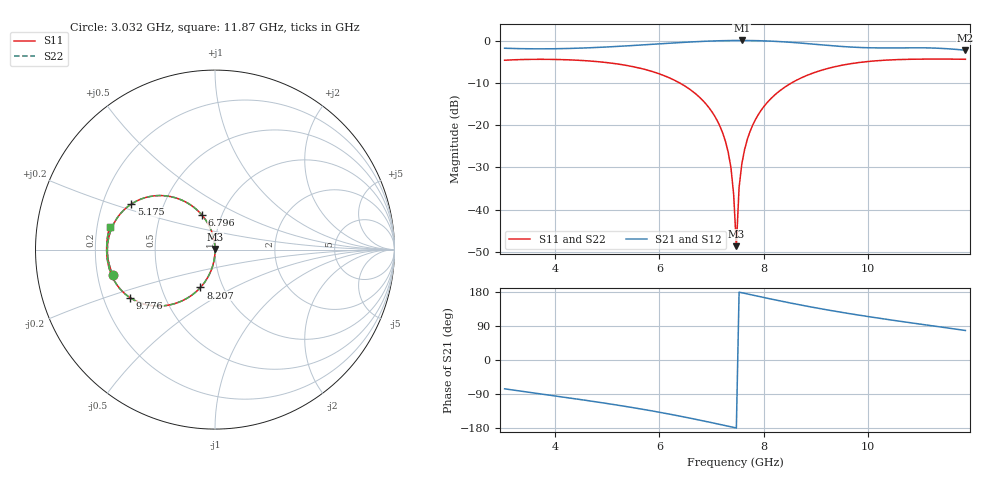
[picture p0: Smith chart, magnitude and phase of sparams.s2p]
! rfx Touchstone export
! 2-port, 170 frequencies
! rfx gallery case multilayer_fresnel
! tier E5; quick_smoke=False
# GHz S RI R 50
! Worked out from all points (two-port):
!   170 points, 3.032 GHz to 11.87 GHz, reference 50 ohm
!   highest |S21| = 0.02 dB at 7.58 GHz (marker M1); lowest = -2.3 dB at 11.87 GHz (marker M2)
!   |S21| within 3 dB of the highest: start of sweep to end of sweep
!   lowest |S11| = -48.7 dB at 7.476 GHz (marker M3), VSWR 1.01, Z = 50 + j0.369 ohm
!   |S11| at or under -10 dB: 6.383 GHz to 8.538 GHz (2.154 GHz wide, 28.9 % of centre)
!   |S22| runs from -48.7 to -4.4 dB; largest |S21 - S12| = 0
!   S11 on the Smith chart (normalised r, x): 3.032 GHz: 0.27, -0.11; 5.175 GHz: 0.32, +0.23; 6.796 GHz: 0.81, +0.32; 8.207 GHz: 0.78, -0.35; 9.776 GHz: 0.31, -0.24; 11.87 GHz: 0.25, +0.10
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3.032065  -0.5678 -0.1404  0.1947 -0.7871  0.1947 -0.7871  -0.5678 -0.1404
4.548098  -0.558 0.1557  -0.2193 -0.786  -0.2193 -0.786  -0.558 0.1557
5.175422  -0.4657 0.2541  -0.4073 -0.7465  -0.4073 -0.7465  -0.4657 0.2541
6.011854  -0.2673 0.2985  -0.6815 -0.6103  -0.6815 -0.6103  -0.2673 0.2985
6.796009  -0.0725 0.1924  -0.9129 -0.3442  -0.9129 -0.3442  -0.0725 0.1924
7.10967  -0.0225 0.1102  -0.9724 -0.1981  -0.9724 -0.1981  -0.0225 0.1102
7.214224  -0.0117 0.0795  -0.9856 -0.1457  -0.9856 -0.1457  -0.0117 0.0795
7.318778  -0.0044 0.0476  -0.9951 -0.092  -0.9951 -0.092  -0.0044 0.0476
7.371055  -0.00204 0.0314  -0.9983 -0.0649  -0.9983 -0.0649  -0.00204 0.0314
7.423332  -0.000573 0.0153  -1.001 -0.0376  -1.001 -0.0376  -0.000573 0.0153
7.475609  -3.75e-05 0.00369  -1.002 -0.0102  -1.002 -0.0102  -3.75e-05 0.00369
7.527886  -0.000316 -0.0183  -1.002 0.0173  -1.002 0.0173  -0.000316 -0.0183
7.580163  -0.00155 -0.0346  -1.001 0.0447  -1.001 0.0447  -0.00155 -0.0346
7.684717  -0.00668 -0.0671  -0.9964 0.0992  -0.9964 0.0992  -0.00668 -0.0671
7.789271  -0.0153 -0.0988  -0.9874 0.153  -0.9874 0.153  -0.0153 -0.0988
7.946102  -0.0345 -0.1442  -0.9666 0.2312  -0.9666 0.2312  -0.0345 -0.1442
8.207487  -0.0811 -0.2107  -0.9138 0.3516  -0.9138 0.3516  -0.0811 -0.2107
8.939365  -0.269 -0.311  -0.6869 0.5942  -0.6869 0.5942  -0.269 -0.311
9.775797  -0.4738 -0.2676  -0.4087 0.7235  -0.4087 0.7235  -0.4738 -0.2676
10.40312  -0.565 -0.1659  -0.2305 0.7849  -0.2305 0.7849  -0.565 -0.1659
11.18728  -0.6034 -0.0112  -0.0151 0.8175  -0.0151 0.8175  -0.6034 -0.0112
11.86688  -0.5869 0.1258  0.1611 0.7517  0.1611 0.7517  -0.5869 0.1258
